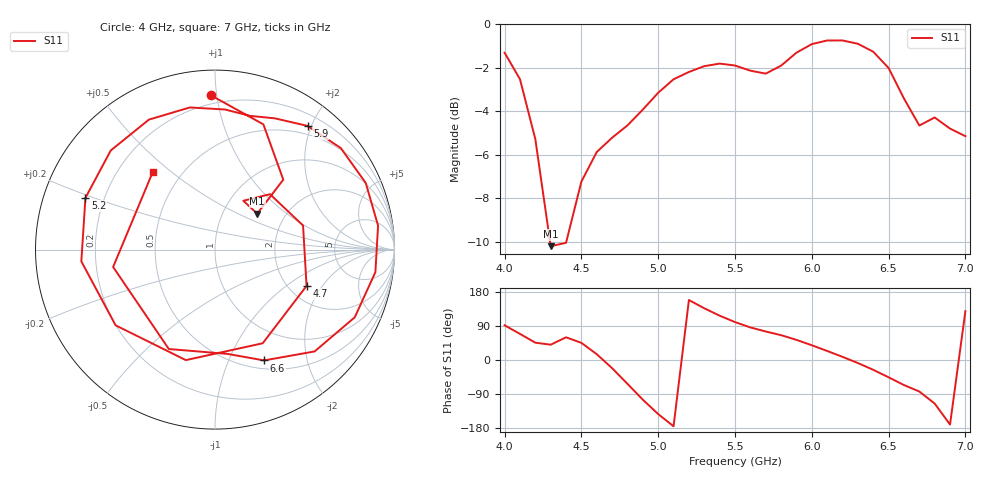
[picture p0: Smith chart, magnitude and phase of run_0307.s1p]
! Touchstone file exported from HFSS 2024.2.0
!  File:  C:/Users/wsak9/Desktop/Sim Fast/Widenad Patch/WP_AI_V1_sweep.aedt
!  Generated:  03:59:22 AM Oct 14, 2026
!  Design:  A1_model
!  Project:  WP_AI_V1_sweep
!  Setup:  Setup1
!  Solution:  Sweep
! Variables:
!  Air_gap = 2.28mm
!  Curve_Amp1 = 2.83
!  Curve_len1 = 1
!  Curve_pos = 11.835mm
!  Extra = 7.34mm
!  H_sub = 0.79mm
!  L_Patch = 19.67mm
!  L_Patch1 = 18.58mm
!  Sx = 3.08mm
!  Sy = 2.33mm
!  WS = 0.87mm
!  W_Patch = 22.97mm
!  W_Patch1 = 11.24mm
!Data is not renormalized
# GHz S MA
! Terminal data exported
! Port[1] = 1
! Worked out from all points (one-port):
!   31 points, 4 GHz to 7 GHz, reference per port
!   lowest |S11| = -10.2 dB at 4.3 GHz (marker M1), VSWR 1.89
!   |S11| at or under -10 dB: 4.296 GHz to 4.402 GHz (105.9 MHz wide, 2.43 % of centre)
!   S11 on the Smith chart (normalised r, x): 4 GHz: 0.15, +0.96; 4.7 GHz: 2.49, -1.44; 5.2 GHz: 0.13, +0.19; 5.9 GHz: 0.37, +1.94; 6.6 GHz: 0.60, -1.36; 7 GHz: 0.35, +0.43
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4  0.8605 91.6
4.1  0.7481 68.9
4.2  0.5446 45.7
4.3  0.3089 40.4
4.4  0.3145 59.9
4.5  0.4349 45.2
4.6  0.5086 15.3
4.7  0.5487 -21.6
4.8  0.5857 -63.0
4.9  0.6368 -104.8
5  0.6961 -142.7
5.1  0.7476 -175.0
5.2  0.7772 158.2
5.3  0.8015 136.4
5.4  0.8124 117.0
5.5  0.8042 100.0
5.9  0.8607 53.2
6  0.9008 38.9
6.1  0.9183 23.9
6.2  0.9184 8.4
6.3  0.9023 -8.0
6.4  0.8652 -25.8
6.5  0.7937 -45.6
6.6  0.6753 -66.1
6.7  0.5852 -83.2
6.8  0.6107 -114.9
6.9  0.5758 -170.3
7  0.5531 128.9
